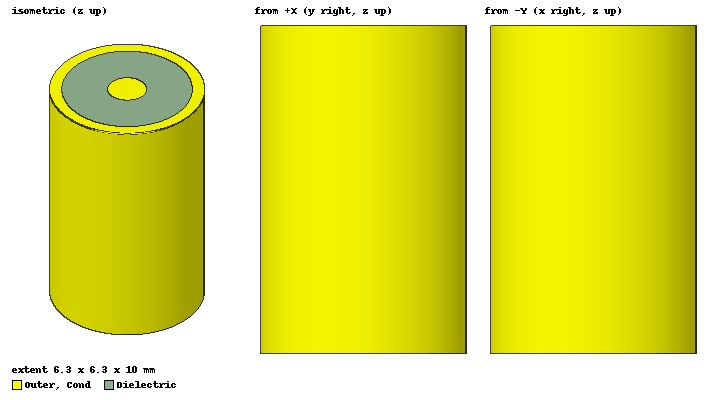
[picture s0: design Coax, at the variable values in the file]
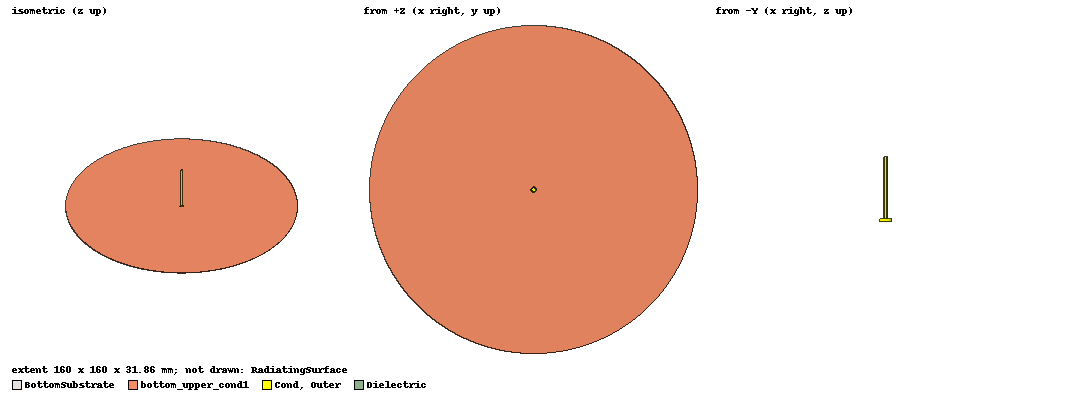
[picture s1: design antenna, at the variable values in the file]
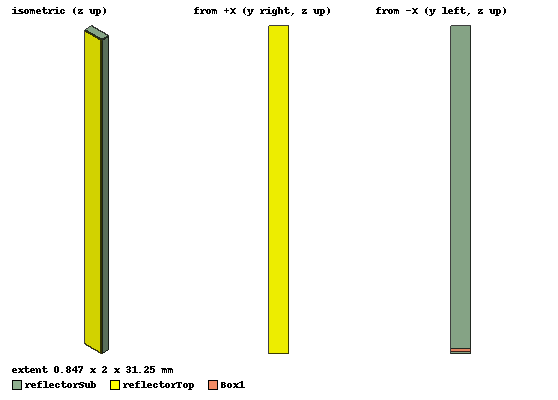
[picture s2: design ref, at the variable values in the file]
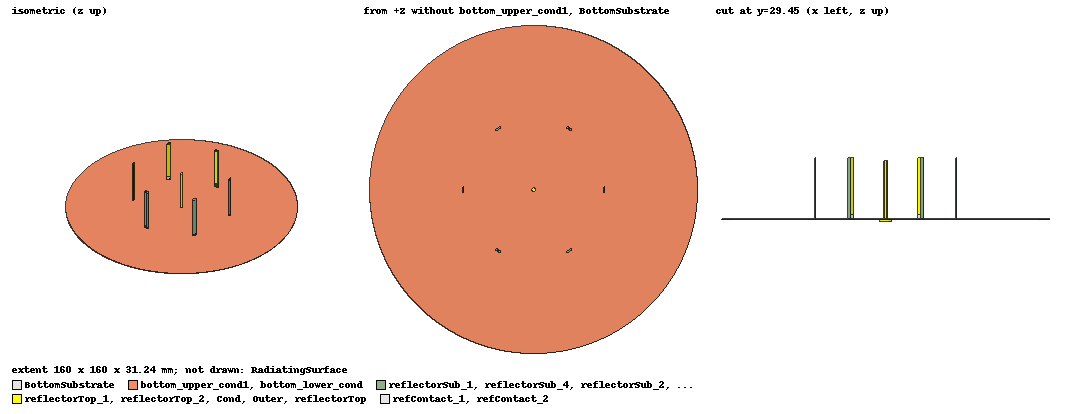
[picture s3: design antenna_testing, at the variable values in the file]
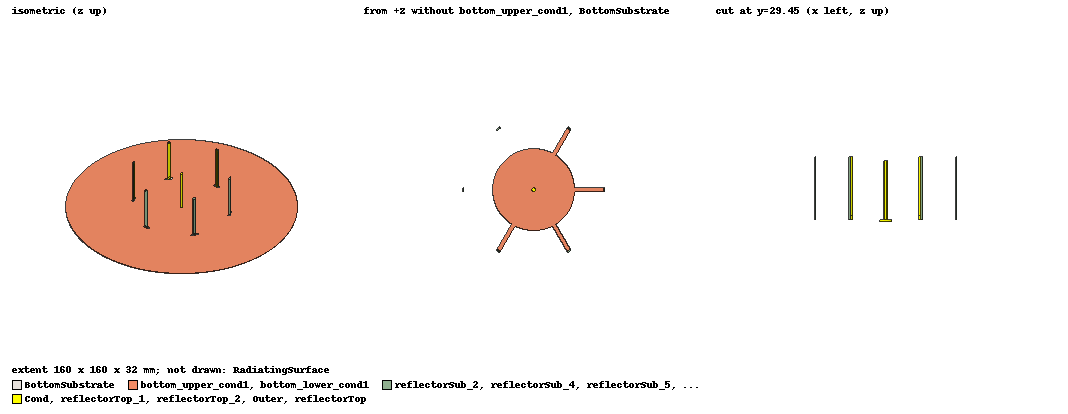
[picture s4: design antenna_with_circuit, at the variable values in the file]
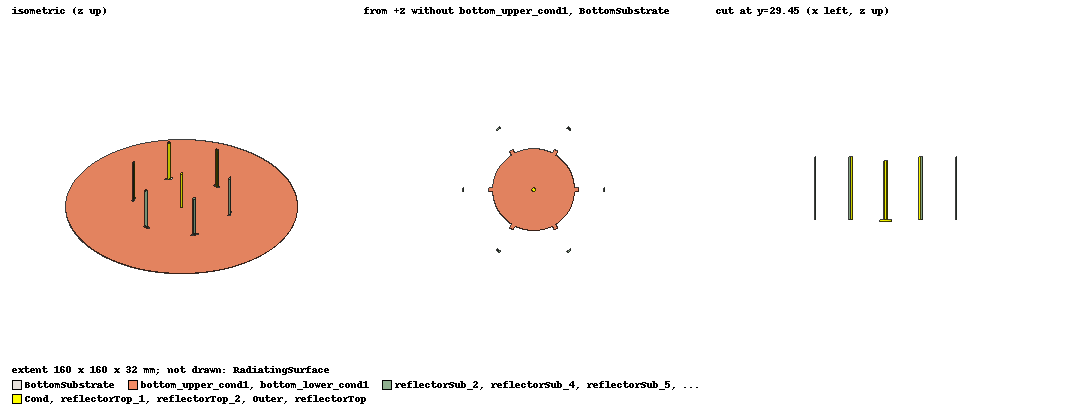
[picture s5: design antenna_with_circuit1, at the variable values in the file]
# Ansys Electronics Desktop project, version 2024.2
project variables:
  $groundT = 17um
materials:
  vacuum: permittivity=1
  Teflon (tm): permittivity=2.1 dielectric_loss_tangent=0.001
  copper: permeability=0.999991 conductivity=58000000
  Rogers RO4003 (tm): permittivity=3.55 dielectric_loss_tangent=0.0027
  duroid: permittivity=2.2 dielectric_loss_tangent=0.001

design Coax (HFSS, HFSS Terminal Network, model units mm)
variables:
  Hout = 10mm
  Hdia = 10mm
  Rout = 3.15mm
  Rdia = 2.65mm
  Hcond = 10mm
  Rcond = 0.79mm
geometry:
  Outer [copper] = cylinder(axis=Z, base_centre=(0mm, 0mm, 0mm), radius=Rout, height=Hout)
  Cylinder1 = cylinder(axis=Z, base_centre=(0mm, 0mm, 0mm), radius=Rdia, height=Hdia)
  Outer.subtract(Cylinder1)
  Dielectric [Teflon (tm)] = cylinder(axis=Z, base_centre=(0mm, 0mm, 0mm), radius=Rdia, height=Hdia)
  Cond [copper] = cylinder(axis=Z, base_centre=(0mm, 0mm, 0mm), radius=Rcond, height=Hcond)
  Cylinder2_1 = Cond.copy()
  Dielectric.subtract(Cylinder2_1)

design antenna (HFSS, HFSS Terminal Network, model units mm)
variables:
  Hout = Hdown
  Rout = 3.15mm
  groundT = 17um
  Hdown = 1.5mm
  Rdia = 2.65mm
  SubW = 150mm
  Hdia = Hdown
  SubL = 150mm
  lam = 120.5mm
  Rcond = 0.79mm
  SubH = 0.203mm
  Hcond = Hdown + 2*groundT + subH + lam/4
  Rhole = 1.4mm
  RholeTop = 1.4mm
  lambda = 130mm
  refW = 3mm
  refH = 27mm
  refy = 0mm
  refSubThickness = 0.813mm
  refx = -lambda/4
  refz = 2*groundT + SubH
  contact = 2mm
  sep = 0mm
  RadSubstrate = 80mm
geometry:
  bottom_lower_cond [copper] = cylinder(axis=Z, base_centre=(0mm, 0mm, 0mm), radius=RadSubstrate, height=groundT)
  BottomSubstrate [Rogers RO4003 (tm)] = cylinder(axis=Z, base_centre=(0mm, 0mm, groundT), radius=RadSubstrate, height=SubH)
  bottom_upper_cond1 [copper, solve inside] = cylinder(axis=Z, base_centre=(0mm, 0mm, SubH+groundT), radius=RadSubstrate, height=groundT)
  hole = cylinder(axis=Z, base_centre=(0mm, 0mm, 0mm), radius=Rhole, height=SubH+groundT)
  holeTop = cylinder(axis=Z, base_centre=(0mm, 0mm, SubH+groundT), radius=RholeTop, height=groundT)
  bottom_upper_cond1.subtract(holeTop)
  hole_1 = hole.copy()
  bottom_lower_cond.subtract(hole_1)
  BottomSubstrate.subtract(hole)
  Outer [copper] = cylinder(axis=Z, base_centre=(0mm, 0mm, -Hdown), radius=Rout, height=Hout)
  Cylinder1 = cylinder(axis=Z, base_centre=(0mm, 0mm, -Hdown), radius=Rdia, height=Hdia)
  Outer.subtract(Cylinder1)
  Dielectric [Teflon (tm)] = cylinder(axis=Z, base_centre=(0mm, 0mm, -Hdown), radius=Rdia, height=Hdia)
  Cond [copper] = cylinder(axis=Z, base_centre=(0mm, 0mm, -Hdown), radius=Rcond, height=Hcond)
  Cylinder2_1 = Cond.copy()
  Dielectric.subtract(Cylinder2_1)
  RadiatingSurface [vacuum] = region(absolute_offset=41.666667mm on all sides)
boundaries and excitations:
  Open1: Radiation Objects=RadiatingSurface
  1: Lumped Port Faces=Cond.face(-z end) Dielectric.face(-z end) LumpedPortType=Modal Modes{Mode1{IntLine{(0, 0, -1.5) -> (2.65, 0, -1.5)} CharImp=Zpi}} Impedance=50ohm
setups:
  Setup1: HfssDriven Frequency=2.4GHz MaxDeltaS=0.02 MaximumPasses=6 MinimumPasses=1 MinimumConvergedPasses=1 PercentRefinement=30 BasisOrder=1 PortAccuracy=2 DrivenSolverType="Direct Solver"
    sweep Sweep: 2GHz to 3GHz, 101 points; Type=Fast SaveFields
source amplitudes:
  1:1: 1V 0deg
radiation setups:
  3D: Infinite Sphere Theta=-180deg..180deg step 2deg Phi=-180deg..180deg step 2deg
  Elevation: Infinite Sphere Theta=-180deg..180deg step 1deg Phi=0deg..90deg step 90deg
  Azimuth: Infinite Sphere Theta=90deg..90deg step 0deg Phi=-180deg..180deg step 1deg
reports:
  Gain Plot 1: dB(GainTotal) vs Phi, Theta on Setup1 : LastAdaptive, 3D [Freq=2.4GHz]
  S Parameter Plot 1: dB(S(1,1)) vs Freq on Setup1 : Sweep [RholeTop=all]; markers MX1 at x=2.4e+09

design ref (HFSS, HFSS Terminal Network, model units mm)
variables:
  refy = 0mm
  refW = 2mm
  lambda = 125mm
  refSubThickness = 0.813mm
  refz = 0mm
  refx = 0mm
  refH = lambda/4
  sep = 2mm
  contact = 2mm
  SubH = 0.203mm
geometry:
  reflectorSub [Rogers RO4003 (tm)] = box(corner=(refx-$groundT, refy-refW/2, refz), size=(-refSubThickness, refW, refH))
  reflectorTop [copper] = box(corner=(refx-$groundT, refy-refW/2, refz), size=($groundT, refW, refH))
  Box1 [copper] = box(corner=(refx-$groundT-refSubThickness, refy-refW/2, refz + $groundT + SubH), size=(-$groundT, refW, 0.3mm))
  group reflector_Group = reflectorSub, reflectorTop

design antenna_testing (HFSS, HFSS Terminal Network, model units mm)
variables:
  Hout = Hdown
  Rout = 3.15mm
  groundT = 17um
  Hdown = 1mm
  Rdia = 2.65mm
  SubW = 150mm
  Hdia = Hdown
  SubL = 150mm
  lam = 114mm
  Rcond = 0.79mm
  SubH = 0.203mm
  Hcond = Hdown + 2*groundT + subH + lam/4
  Rhole = 1mm
  RholeTop = Rhole
  lambda = 136mm
  refW = 3mm
  refH = 30mm
  refy = 0mm
  refSubThickness = 0.813mm
  refx = -lambda/4
  refz = 2*groundT + SubH
  contact = 2mm
  sep = 0mm
  RadSubstrate = 80mm
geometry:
  bottom_lower_cond [copper] = cylinder(axis=Z, base_centre=(0mm, 0mm, 0mm), radius=RadSubstrate, height=groundT)
  BottomSubstrate [Rogers RO4003 (tm)] = cylinder(axis=Z, base_centre=(0mm, 0mm, groundT), radius=RadSubstrate, height=SubH)
  bottom_upper_cond1 [copper, solve inside] = cylinder(axis=Z, base_centre=(0mm, 0mm, SubH+groundT), radius=RadSubstrate, height=groundT)
  hole = cylinder(axis=Z, base_centre=(0mm, 0mm, 0mm), radius=Rhole, height=SubH+groundT)
  holeTop = cylinder(axis=Z, base_centre=(0mm, 0mm, SubH+groundT), radius=RholeTop, height=groundT)
  bottom_upper_cond1.subtract(holeTop)
  hole_1 = hole.copy()
  bottom_lower_cond.subtract(hole_1)
  BottomSubstrate.subtract(hole)
  Outer [copper] = cylinder(axis=Z, base_centre=(0mm, 0mm, -Hdown), radius=Rout, height=Hout)
  Cylinder1 = cylinder(axis=Z, base_centre=(0mm, 0mm, -Hdown), radius=Rdia, height=Hdia)
  Outer.subtract(Cylinder1)
  Dielectric [Teflon (tm)] = cylinder(axis=Z, base_centre=(0mm, 0mm, -Hdown), radius=Rdia, height=Hdia)
  Cond [copper] = cylinder(axis=Z, base_centre=(0mm, 0mm, -Hdown), radius=Rcond, height=Hcond)
  Cylinder2_1 = Cond.copy()
  Dielectric.subtract(Cylinder2_1)
  RadiatingSurface [vacuum] = region(absolute_offset=41.666667mm on all sides)
  reflectorSub [Rogers RO4003 (tm)] = box(corner=(refx-$groundT, refy-refW/2, refz), size=(-refSubThickness, refW, refH))
  reflectorTop [copper] = box(corner=(refx-$groundT, refy-refW/2, refz + contact), size=($groundT, refW, refH -contact))
  Box1 [copper] = box(corner=(refx-$groundT-refSubThickness, refy-refW/2, refz + $groundT + SubH), size=(-$groundT, refW, 0.3mm))
  refContact [copper] = box(corner=(refx-$groundT, refy-refW/2, refz), size=($groundT, refW, contact))
  reflectorSub_1..reflectorSub_5 [Rogers RO4003 (tm)] = reflectorSub.duplicate_around_axis(axis=Z, angle=60deg, total=6)
  reflectorTop_1..reflectorTop_5 [copper] = reflectorTop.duplicate_around_axis(axis=Z, angle=60deg, total=6)
  refContact_1, refContact_2, refContact_3 [vacuum], refContact_4, refContact_5 [copper] = refContact.duplicate_around_axis(axis=Z, angle=60deg, total=6)
  group reflector_Group = reflectorSub, reflectorTop, refContact, reflectorSub_1..reflectorSub_5, reflectorTop_1..reflectorTop_5, refContact_1..refContact_5
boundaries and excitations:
  Open1: Radiation Objects=RadiatingSurface
  PerfE1: Perfect E Faces=BottomSubstrate.face(at (-1, 0, 0.1185))
  1: Lumped Port Faces=Cond.face(-z end) Dielectric.face(-z end) LumpedPortType=Modal Modes{Mode1{IntLine{(0, 0, -1) -> (2.65, 0, -1)} CharImp=Zpi}} Impedance=50ohm
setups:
  Setup1: HfssDriven Frequency=2.4GHz MaxDeltaS=0.02 MaximumPasses=6 MinimumPasses=1 MinimumConvergedPasses=1 PercentRefinement=30 BasisOrder=1 PortAccuracy=2 DrivenSolverType="Direct Solver"
    sweep Sweep: 2GHz to 3GHz, 101 points; Type=Fast SaveFields
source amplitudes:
  1:1: 1V 0deg
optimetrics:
  ParametricSetup2: Parametric disabled Sim._Setups=[Setup1]
    sweep Rhole: LIN 0.8mm 3mm 0.2mm
    sweep RadSubstrate: LIN 40mm 90mm 10mm
    sweep lam: LIN 110mm 125mm 1mm
  ParametricSetup3: Parametric disabled Sim._Setups=[Setup1]
    sweep refH: LIN 25mm 35mm 0.5mm
    sweep lambda: LIN 110mm 140mm 1mm
  ParametricSetup4: Parametric Sim._Setups=[Setup1]
    sweep lam: LIN 112mm 118mm 2mm
    sweep lambda: LIN 128mm 136mm 1mm
    sweep refH: LIN 25mm 30mm 1mm
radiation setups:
  3D: Infinite Sphere Theta=-180deg..180deg step 2deg Phi=-180deg..180deg step 2deg
  Elevation: Infinite Sphere Theta=-180deg..180deg step 1deg Phi=0deg..90deg step 90deg
  Azimuth: Infinite Sphere Theta=90deg..90deg step 0deg Phi=-180deg..180deg step 1deg
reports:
  S Parameter Plot 1: dB(S(1,1)) vs Freq on Setup1 : Sweep; markers MX1 at x=2.4e+09
  Gain Plot 1: dB(GainTotal) vs Phi, Theta on Setup1 : LastAdaptive, 3D [Freq=2.4GHz]
  S Parameter Plot 2: dB(S(1,1)) vs Freq on Setup1 : Sweep [lam=all Rhole=0.9mm lambda=all refH=all]; markers MX1 at x=2.400381e+09
  S Parameter Plot 3: dB(S(1,1)) vs Freq on Setup1 : Sweep [lam=all Rhole=1mm lambda=all refH=all]; markers MX1 at x=2.4000357e+09

design antenna_with_circuit (HFSS, HFSS Terminal Network, model units mm)
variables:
  Hout = Hdown
  Rout = 3.15mm
  groundT = 17um
  Hdown = 1mm
  Rdia = 2.65mm
  SubW = 150mm
  Hdia = Hdown
  SubL = 150mm
  lam = 114mm
  Rcond = 0.79mm
  SubH = 0.203mm
  Hcond = Hdown + 2*groundT + subH + lam/4
  Rhole = 1mm
  RholeTop = Rhole
  lambda = 136mm
  refW = 2mm
  refH = 31mm
  refy = 0mm
  refSubThickness = 0.813mm
  refx = -lambda/4
  refz = 0
  contact = 2mm
  sep = 0mm
  RadSubstrate = 80mm
  drillRadiius = 0.5mm
  slotLength = refW
  ground_bottom_rad = 20mm
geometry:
  BottomSubstrate [Rogers RO4003 (tm)] = cylinder(axis=Z, base_centre=(0mm, 0mm, groundT), radius=RadSubstrate, height=SubH)
  bottom_upper_cond1 [copper, solve inside] = cylinder(axis=Z, base_centre=(0mm, 0mm, SubH+groundT), radius=RadSubstrate, height=groundT)
  hole = cylinder(axis=Z, base_centre=(0mm, 0mm, 0mm), radius=Rhole, height=SubH+groundT)
  holeTop = cylinder(axis=Z, base_centre=(0mm, 0mm, SubH+groundT), radius=RholeTop, height=groundT)
  bottom_upper_cond1.subtract(holeTop)
  BottomSubstrate.subtract(hole)
  Outer [copper] = cylinder(axis=Z, base_centre=(0mm, 0mm, -Hdown), radius=Rout, height=Hout)
  Cylinder1 = cylinder(axis=Z, base_centre=(0mm, 0mm, -Hdown), radius=Rdia, height=Hdia)
  Outer.subtract(Cylinder1)
  Dielectric [Teflon (tm)] = cylinder(axis=Z, base_centre=(0mm, 0mm, -Hdown), radius=Rdia, height=Hdia)
  Cond [copper] = cylinder(axis=Z, base_centre=(0mm, 0mm, -Hdown), radius=Rcond, height=Hcond)
  Cylinder2_1 = Cond.copy()
  Dielectric.subtract(Cylinder2_1)
  RadiatingSurface [vacuum] = region(absolute_offset=41.666667mm on all sides)
  reflectorSub [Rogers RO4003 (tm)] = box(corner=(refx-$groundT, refy-refW/2, refz), size=(-refSubThickness, refW, refH))
  reflectorTop [copper] = box(corner=(refx-$groundT, refy-refW/2, refz + contact), size=($groundT, refW, refH -contact))
  HoldingContact [copper] = box(corner=(refx-$groundT-refSubThickness, refy-refW/2, refz + $groundT + SubH), size=(-$groundT, refW, 0.3mm))
  refContact [copper] = box(corner=(refx-$groundT, refy-refW/2, refz), size=($groundT, refW, contact))
  substrateCut = box(corner=(refx, -slotLength/2, groundT), size=(-2 * drillRadiius, slotLength, SubH))
  Cylinder2 = cylinder(axis=Z, base_centre=(refx - drillRadiius, -slotLength /2, groundT), radius=drillRadiius, height=SubH)
  Cylinder3 = cylinder(axis=Z, base_centre=(refx - drillRadiius, slotLength /2, groundT), radius=drillRadiius, height=SubH)
  substrateCut.unite(Cylinder2, Cylinder3)
  ground_top_layer_drill_cut = box(corner=(refx - 2*drillRadiius, - ( refW + 3mm)/2, groundT + SubH), size=(1.5mm, refW +  3 mm, groundT))
  substrateCut_1..substrateCut_5 = substrateCut.duplicate_around_axis(axis=Z, angle=60deg, total=6)
  reflectorSub_1..reflectorSub_5 [Rogers RO4003 (tm)] = reflectorSub.duplicate_around_axis(axis=Z, angle=60deg, total=6)
  reflectorTop_1..reflectorTop_5 [copper] = reflectorTop.duplicate_around_axis(axis=Z, angle=60deg, total=6)
  HoldingContact_1..HoldingContact_5 [copper] = HoldingContact.duplicate_around_axis(axis=Z, angle=60deg, total=6)
  refContact_1..refContact_5 [copper] = refContact.duplicate_around_axis(axis=Z, angle=60deg, total=6)
  ground_top_layer_drill_cut_1..ground_top_layer_drill_cut_5 = ground_top_layer_drill_cut.duplicate_around_axis(axis=Z, angle=60deg, total=6)
  bottom_upper_cond1.subtract(ground_top_layer_drill_cut, ground_top_layer_drill_cut_1..ground_top_layer_drill_cut_5)
  BottomSubstrate.subtract(substrateCut, substrateCut_1..substrateCut_5)
  bottom_lower_cond1 = cylinder(axis=Z, base_centre=(0mm, 0mm, 0mm), radius=ground_bottom_rad, height=groundT)
  hole1 = cylinder(axis=Z, base_centre=(0mm, 0mm, 0mm), radius=Rhole, height=SubH+groundT)
  hole_2 = hole1.copy()
  bottom_lower_cond1.subtract(hole_2)
  hole1.delete()
  Box1 = box(corner=(-refx, -refW/2, 0mm), size=(refx + ground_bottom_rad - 1 mm, refW, groundT))
  Box1_2, Box1_3 [copper, non-model], Box1_1, Box1_4, Box1_5 = Box1.duplicate_around_axis(axis=Z, angle=60deg, total=6)
  bottom_lower_cond1.unite(Box1_1, Box1_4, Box1, Box1_5)
  group Reflector = reflectorSub, reflectorTop, HoldingContact, refContact, reflectorSub_1..reflectorSub_5, reflectorTop_1..reflectorTop_5, HoldingContact_1..HoldingContact_5, refContact_1..refContact_5
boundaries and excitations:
  Open1: Radiation Objects=RadiatingSurface
  PerfE1: Perfect E Faces=BottomSubstrate.face(at (-1, 0, 0.1185))
  1: Lumped Port Faces=Cond.face(-z end) Dielectric.face(-z end) LumpedPortType=Modal Modes{Mode1{IntLine{(0, 0, -1) -> (2.65, 0, -1)} CharImp=Zpi}} Impedance=50ohm
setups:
  Setup1: HfssDriven Frequency=2.4GHz MaxDeltaS=0.02 MaximumPasses=6 MinimumPasses=1 MinimumConvergedPasses=1 PercentRefinement=30 BasisOrder=1 PortAccuracy=2 DrivenSolverType="Direct Solver"
    sweep Sweep: 2GHz to 3GHz, 101 points; Type=Fast SaveFields
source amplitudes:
  1:1: 1V 0deg
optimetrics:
  ParametricSetup2: Parametric disabled Sim._Setups=[Setup1]
    sweep Rhole: LIN 0.8mm 3mm 0.2mm
    sweep RadSubstrate: LIN 40mm 90mm 10mm
    sweep lam: LIN 110mm 125mm 1mm
  ParametricSetup3: Parametric disabled Sim._Setups=[Setup1]
    sweep refH: LIN 25mm 35mm 0.5mm
    sweep lambda: LIN 110mm 140mm 1mm
  ParametricSetup4: Parametric disabled Sim._Setups=[Setup1]
    sweep lam: LIN 112mm 118mm 2mm
    sweep lambda: LIN 128mm 136mm 2mm
    sweep refH: LIN 26mm 32mm 1mm
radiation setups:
  3D: Infinite Sphere Theta=-180deg..180deg step 2deg Phi=-180deg..180deg step 2deg
  Elevation: Infinite Sphere Theta=-180deg..180deg step 1deg Phi=0deg..90deg step 90deg
  Azimuth: Infinite Sphere Theta=90deg..90deg step 0deg Phi=-180deg..180deg step 1deg
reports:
  S Parameter Plot 1: dB(S(1,1)) vs Freq on Setup1 : Sweep; markers MX1 at x=2.4e+09
  Gain Plot 1: dB(GainTotal) vs Phi, Theta on Setup1 : LastAdaptive, 3D [Freq=2.4GHz]
  S Parameter Plot 2: dB(S(1,1)) vs Freq on Setup1 : Sweep [lam=all lambda=all refW=all refH=all]; markers MX1 at x=2.4041695e+09

design antenna_with_circuit1 (HFSS, HFSS Terminal Network, model units mm)
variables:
  Hout = Hdown
  Rout = 3.15mm
  groundT = 17um
  Hdown = 1mm
  Rdia = 2.65mm
  SubW = 150mm
  Hdia = Hdown
  SubL = 150mm
  lam = 114mm
  Rcond = 0.79mm
  SubH = 0.203mm
  Hcond = Hdown + 2*groundT + subH + lam/4
  Rhole = 1mm
  RholeTop = Rhole
  lambda = 136mm
  refW = 2mm
  refH = 31mm
  refy = 0mm
  refSubThickness = 0.813mm
  refx = -lambda/4
  refz = 0
  contact = groundT
  sep = 0mm
  RadSubstrate = 80mm
  drillRadiius = 0.5mm
  slotLength = refW
  ground_bottom_rad = 20mm
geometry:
  BottomSubstrate [Rogers RO4003 (tm)] = cylinder(axis=Z, base_centre=(0mm, 0mm, groundT), radius=RadSubstrate, height=SubH)
  bottom_upper_cond1 [copper, solve inside] = cylinder(axis=Z, base_centre=(0mm, 0mm, SubH+groundT), radius=RadSubstrate, height=groundT)
  hole = cylinder(axis=Z, base_centre=(0mm, 0mm, 0mm), radius=Rhole, height=SubH+groundT)
  holeTop = cylinder(axis=Z, base_centre=(0mm, 0mm, SubH+groundT), radius=RholeTop, height=groundT)
  bottom_upper_cond1.subtract(holeTop)
  BottomSubstrate.subtract(hole)
  Outer [copper] = cylinder(axis=Z, base_centre=(0mm, 0mm, -Hdown), radius=Rout, height=Hout)
  Cylinder1 = cylinder(axis=Z, base_centre=(0mm, 0mm, -Hdown), radius=Rdia, height=Hdia)
  Outer.subtract(Cylinder1)
  Dielectric [Teflon (tm)] = cylinder(axis=Z, base_centre=(0mm, 0mm, -Hdown), radius=Rdia, height=Hdia)
  Cond [copper] = cylinder(axis=Z, base_centre=(0mm, 0mm, -Hdown), radius=Rcond, height=Hcond)
  Cylinder2_1 = Cond.copy()
  Dielectric.subtract(Cylinder2_1)
  RadiatingSurface [vacuum] = region(absolute_offset=41.666667mm on all sides)
  reflectorSub [Rogers RO4003 (tm)] = box(corner=(refx-$groundT, refy-refW/2, refz), size=(-refSubThickness, refW, refH))
  reflectorTop [copper] = box(corner=(refx-$groundT, refy-refW/2, refz + contact), size=($groundT, refW, refH -contact))
  HoldingContact [copper] = box(corner=(refx-$groundT-refSubThickness, refy-refW/2, refz + $groundT + SubH), size=(-$groundT, refW, 0.3mm))
  refContact [copper] = box(corner=(refx-$groundT, refy-refW/2, refz), size=($groundT, refW, contact))
  substrateCut = box(corner=(refx, -slotLength/2, groundT), size=(-2 * drillRadiius, slotLength, SubH))
  Cylinder2 = cylinder(axis=Z, base_centre=(refx - drillRadiius, -slotLength /2, groundT), radius=drillRadiius, height=SubH)
  Cylinder3 = cylinder(axis=Z, base_centre=(refx - drillRadiius, slotLength /2, groundT), radius=drillRadiius, height=SubH)
  substrateCut.unite(Cylinder2, Cylinder3)
  ground_top_layer_drill_cut = box(corner=(refx - 2*drillRadiius, - ( refW + 3mm)/2, groundT + SubH), size=(1.5mm, refW +  3 mm, groundT))
  substrateCut_1..substrateCut_5 = substrateCut.duplicate_around_axis(axis=Z, angle=60deg, total=6)
  reflectorSub_1..reflectorSub_5 [Rogers RO4003 (tm)] = reflectorSub.duplicate_around_axis(axis=Z, angle=60deg, total=6)
  reflectorTop_1..reflectorTop_5 [copper] = reflectorTop.duplicate_around_axis(axis=Z, angle=60deg, total=6)
  HoldingContact_1..HoldingContact_5 [copper] = HoldingContact.duplicate_around_axis(axis=Z, angle=60deg, total=6)
  ground_top_layer_drill_cut_1..ground_top_layer_drill_cut_5 = ground_top_layer_drill_cut.duplicate_around_axis(axis=Z, angle=60deg, total=6)
  bottom_upper_cond1.subtract(ground_top_layer_drill_cut, ground_top_layer_drill_cut_1..ground_top_layer_drill_cut_5)
  BottomSubstrate.subtract(substrateCut, substrateCut_1..substrateCut_5)
  bottom_lower_cond1 [copper] = cylinder(axis=Z, base_centre=(0mm, 0mm, 0mm), radius=ground_bottom_rad, height=groundT)
  hole1 = cylinder(axis=Z, base_centre=(0mm, 0mm, 0mm), radius=Rhole, height=SubH+groundT)
  hole_2 = hole1.copy()
  bottom_lower_cond1.subtract(hole_2)
  hole1.delete()
  Box2 = box(corner=(ground_bottom_rad -  0.5 mm, -refW/2, 0mm), size=(2.5mm, refW, groundT))
  refContact_1..refContact_5 [copper] = refContact.duplicate_around_axis(axis=Z, angle=60deg, total=6)
  Box2_1..Box2_5 = Box2.duplicate_around_axis(axis=Z, angle=60deg, total=6)
  bottom_lower_cond1.unite(Box2, Box2_5, Box2_4, Box2_3, Box2_2, Box2_1)
  group Reflector = reflectorSub, reflectorTop, HoldingContact, refContact, reflectorSub_1..reflectorSub_5, reflectorTop_1..reflectorTop_5, HoldingContact_1..HoldingContact_5, refContact_1..refContact_5
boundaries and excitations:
  Open1: Radiation Objects=RadiatingSurface
  PerfE1: Perfect E Faces=BottomSubstrate.face(at (-1, 0, 0.1185))
  1: Lumped Port Faces=Cond.face(-z end) Dielectric.face(-z end) LumpedPortType=Modal Modes{Mode1{IntLine{(0, 0, -1) -> (2.65, 0, -1)} CharImp=Zpi}} Impedance=50ohm
  2: Lumped Port Faces=refContact.face(+x) LumpedPortType=Terminal Impedance=50ohm
  3: Lumped Port Faces=refContact_1.face(at (-17, -29.4449, 0.0085)) LumpedPortType=Terminal Impedance=50ohm
  4: Lumped Port Faces=refContact_2.face(at (17, -29.4449, 0.0085)) LumpedPortType=Terminal Impedance=50ohm
  5: Lumped Port Faces=refContact_3.face(at (34, 0, 0.0085)) LumpedPortType=Terminal Impedance=50ohm
  6: Lumped Port Faces=refContact_4.face(at (17, 29.4449, 0.0085)) LumpedPortType=Terminal Impedance=50ohm
  7: Lumped Port Faces=refContact_5.face(at (-17, 29.4449, 0.0085)) LumpedPortType=Terminal Impedance=50ohm
  8: Lumped Port Faces=bottom_lower_cond1.face(at (22, 0, 0.0085)) LumpedPortType=Terminal Impedance=50ohm
  9: Lumped Port Faces=bottom_lower_cond1.face(at (11, 19.0526, 0.0085)) LumpedPortType=Terminal Impedance=50ohm
  10: Lumped Port Faces=bottom_lower_cond1.face(at (-11, 19.0526, 0.0085)) LumpedPortType=Terminal Impedance=50ohm
  11: Lumped Port Faces=bottom_lower_cond1.face(at (-22, 0, 0.0085)) LumpedPortType=Terminal Impedance=50ohm
  12: Lumped Port Faces=bottom_lower_cond1.face(at (-11, -19.0526, 0.0085)) LumpedPortType=Terminal Impedance=50ohm
  13: Lumped Port Faces=bottom_lower_cond1.face(at (11, -19.0526, 0.0085)) LumpedPortType=Terminal Impedance=50ohm
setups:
  Setup1: HfssDriven Frequency=2.4GHz MaxDeltaS=0.02 MaximumPasses=6 MinimumPasses=1 MinimumConvergedPasses=1 PercentRefinement=30 BasisOrder=1 PortAccuracy=2 DrivenSolverType="Direct Solver"
    sweep Sweep: 2GHz to 3GHz, 101 points; Type=Fast SaveFields
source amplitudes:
  1:1: 1V 0deg
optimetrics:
  ParametricSetup2: Parametric disabled Sim._Setups=[Setup1]
    sweep Rhole: LIN 0.8mm 3mm 0.2mm
    sweep RadSubstrate: LIN 40mm 90mm 10mm
    sweep lam: LIN 110mm 125mm 1mm
  ParametricSetup3: Parametric disabled Sim._Setups=[Setup1]
    sweep refH: LIN 25mm 35mm 0.5mm
    sweep lambda: LIN 110mm 140mm 1mm
  ParametricSetup4: Parametric disabled Sim._Setups=[Setup1]
    sweep lam: LIN 112mm 118mm 2mm
    sweep lambda: LIN 128mm 136mm 2mm
    sweep refH: LIN 26mm 32mm 1mm
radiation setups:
  3D: Infinite Sphere Theta=-180deg..180deg step 2deg Phi=-180deg..180deg step 2deg
  Elevation: Infinite Sphere Theta=-180deg..180deg step 1deg Phi=0deg..90deg step 90deg
  Azimuth: Infinite Sphere Theta=90deg..90deg step 0deg Phi=-180deg..180deg step 1deg
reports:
  S Parameter Plot 1: dB(S(1,1)) vs Freq on Setup1 : Sweep; markers MX1 at x=2.4e+09
  Gain Plot 1: dB(GainTotal) vs Phi, Theta on Setup1 : LastAdaptive, 3D [Freq=2.4GHz]
  S Parameter Plot 2: dB(S(1,1)) vs Freq on Setup1 : Sweep [lam=all lambda=all refW=all refH=all]; markers MX1 at x=2.4041695e+09
